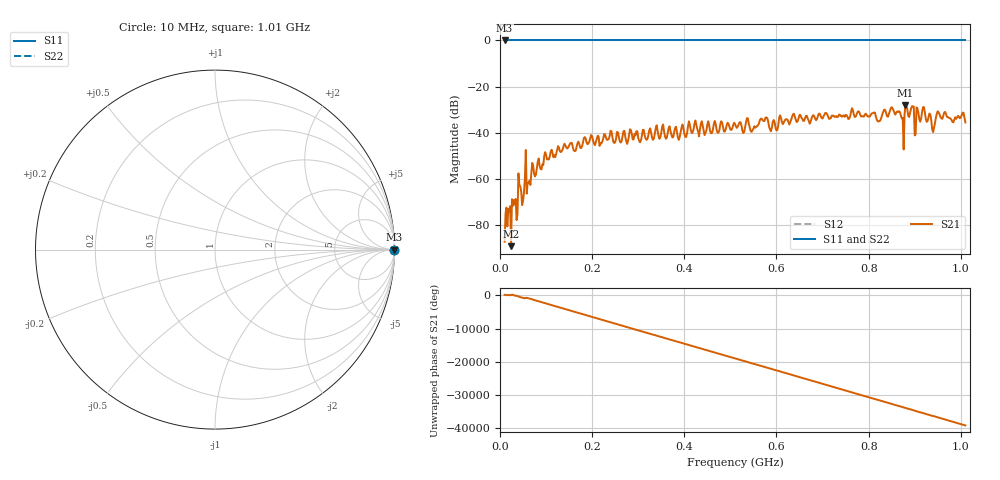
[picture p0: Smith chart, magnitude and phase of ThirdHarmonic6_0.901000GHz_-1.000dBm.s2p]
! 8/16/2025 5:33:25 AM
! C:\ANRITSUVNA\TEMP\TEMP.S2P
! CHANNEL.1
! TR.MEASUREMENT
! RAW.DATA
! RF.CORRECTION.OFF
! AVERAGING.OFF
! IF.BANDWIDTH: 5KHZ
! SWEEPTYPE:  FREQ.SWEEP(Linear)
! Reference Plane Port Info
! PORT:  PORT1  PORT2
! DISTANCE:  0  m  0  m
! TIME:  0  s  0  s
! PHASE.OFFSET:  0  deg.  0  deg.
! LOSS:  0  dB  0  dB
! REF.LOSS:  0  dB  0  dB
! REF.FREQ:  0  Hz  0  Hz
! Power Info
! POWER:  -20  dBm  -20  dBm
! EFF.POWER:  -20  dBm  -20  dBm
! SOURCE.ATTEN:  0  dB  0  dB
! TEST.ATTEN:  0  dB  0  dB
# GHZ S RI R 50.0
! FREQ.GHZ  S11RE  S11IM  S21RE  S21IM  S12RE  S12IM  S22RE  S22IM
!; PortSelection: Port_12
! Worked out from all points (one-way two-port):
!   501 points, 10 MHz to 1.01 GHz, reference 50 ohm
!   highest |S21| = -27.88 dB at 880 MHz (marker M1); lowest = -89.1 dB at 24 MHz (marker M2)
!   lowest |S11| = 0.0 dB at 10 MHz (marker M3)
!   |S11| at or under -10 dB: nowhere
!   |S22| runs from 0.0 to 0.0 dB; largest |S21 - S12| = 1
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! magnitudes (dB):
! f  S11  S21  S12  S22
! 10 MHz  0.0  -87.2  0.0  0.0
! 24 MHz  0.0  -89.1  0.0  0.0
! 34 MHz  0.0  -68.6  0.0  0.0
! 44 MHz  0.0  -63.2  0.0  0.0
! 50 MHz  0.0  -69.6  0.0  0.0
! 58 MHz  0.0  -66.3  0.0  0.0
! 62 MHz  0.0  -61.7  0.0  0.0
! 72 MHz  0.0  -54.4  0.0  0.0
! 100 MHz  0.0  -49.5  0.0  0.0
! 178 MHz  0.0  -45.9  0.0  0.0
! 344 MHz  0.0  -41.3  0.0  0.0
! 510 MHz  0.0  -36.2  0.0  0.0
! 678 MHz  0.0  -32.7  0.0  0.0
! 844 MHz  0.0  -31.9  0.0  0.0
! 874 MHz  0.0  -33.5  0.0  0.0
! 880 MHz  0.0  -27.9  0.0  0.0
! 894 MHz  0.0  -28.5  0.0  0.0
! 898 MHz  0.0  -28.6  0.0  0.0
! 920 MHz  0.0  -28.8  0.0  0.0
! 940 MHz  0.0  -39.7  0.0  0.0
! 950 MHz  0.0  -30.7  0.0  0.0
! 1.01 GHz  0.0  -35.5  0.0  0.0
